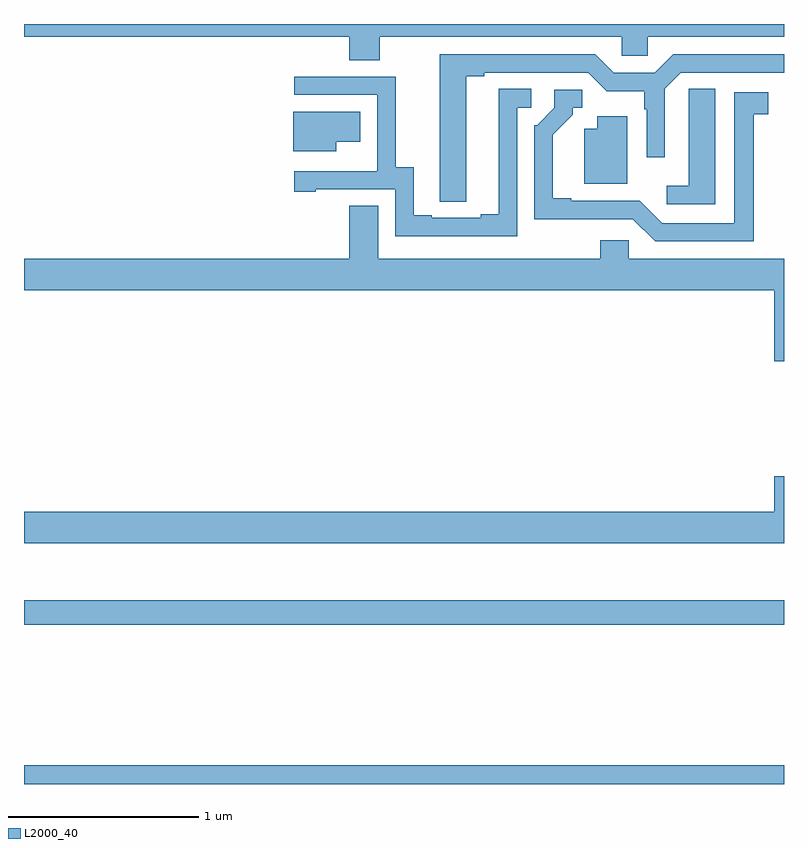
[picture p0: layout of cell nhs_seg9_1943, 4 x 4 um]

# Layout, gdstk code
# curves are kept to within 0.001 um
import gdstk
lib = gdstk.Library(unit=1e-6, precision=1e-09)
def R(c, l, rs):  # rectangles x0, y0, x1, y1
    for r in rs: c.add(gdstk.rectangle(r[:2], r[2:], *l))
def P(c, l, *ps):  # polygons
    for p in ps: c.add(gdstk.Polygon(p, *l))
L2000_40 = (2000, 40)

nhs_seg9_1943 = lib.new_cell('nhs_seg9_1943')
R(nhs_seg9_1943, L2000_40, [(221,1180.5,225,1180.6), (221,1181.338,225,1181.467)])
P(nhs_seg9_1943, L2000_40, [(222.873,1184.432),(224.145,1184.432),(224.145,1184.334),(224.283,1184.334),(224.283,1184.432),(225,1184.432),(225,1184.5),(221,1184.5),(221,1184.432),(222.713,1184.432),(222.713,1184.308),(222.873,1184.308)],
  [(223.327,1184.224),(223.423,1184.224),(223.423,1184.244),(223.971,1184.244),(224.068,1184.147),(224.265,1184.147),(224.265,1184.051),(224.277,1184.051),(224.277,1183.8),(224.373,1183.8),(224.373,1184.16),(224.457,1184.244),(225,1184.244),(225,1184.34),(224.417,1184.34),(224.321,1184.244),(224.103,1184.244),(224.007,1184.34),(223.187,1184.34),(223.188,1183.564),(223.327,1183.564)],
  [(223.596,1184.058),(223.669,1184.058),(223.669,1184.159),(223.499,1184.159),(223.499,1183.499),(223.403,1183.499),(223.403,1183.479),(223.147,1183.479),(223.147,1183.494),(223.051,1183.494),(223.051,1183.745),(222.957,1183.745),(222.957,1184.223),(222.423,1184.223),(222.423,1184.127),(222.858,1184.127),(222.858,1183.726),(222.857,1183.726),(222.857,1183.725),(222.423,1183.725),(222.423,1183.617),(222.535,1183.617),(222.535,1183.629),(222.954,1183.629),(222.954,1183.383),(223.596,1183.383)],
  [(224.638,1184.159),(224.499,1184.159),(224.499,1184.051),(224.498,1184.051),(224.498,1183.648),(224.382,1183.648),(224.382,1183.551),(224.638,1183.551)],
  [(224.842,1184.026),(224.917,1184.026),(224.917,1184.142),(224.738,1184.142),(224.738,1183.452),(224.358,1183.452),(224.241,1183.569),(223.879,1183.569),(223.879,1183.582),(223.783,1183.582),(223.783,1183.918),(223.888,1184.023),(223.888,1184.058),(223.939,1184.058),(223.939,1184.154),(223.791,1184.154),(223.791,1184.058),(223.701,1183.968),(223.686,1183.968),(223.686,1183.472),(224.205,1183.473),(224.322,1183.356),(224.842,1183.356)],
  [(222.643,1183.88),(222.769,1183.88),(222.769,1184.038),(222.416,1184.038),(222.416,1183.829),(222.643,1183.829)],
  [(224.176,1184.014),(224.018,1184.014),(224.018,1183.948),(223.949,1183.948),(223.949,1183.658),(224.176,1183.658)],
  [(225,1183.264),(224.184,1183.264),(224.184,1183.362),(224.033,1183.362),(224.033,1183.264),(222.865,1183.264),(222.865,1183.544),(222.713,1183.544),(222.713,1183.264),(221,1183.264),(221,1183.1),(224.948,1183.1),(224.948,1182.726),(225,1182.726)],
  [(225,1182.121),(224.948,1182.121),(224.948,1181.932),(221,1181.932),(221,1181.768),(225,1181.768)])

lib.write_gds('nhs_seg9_1943.gds')
